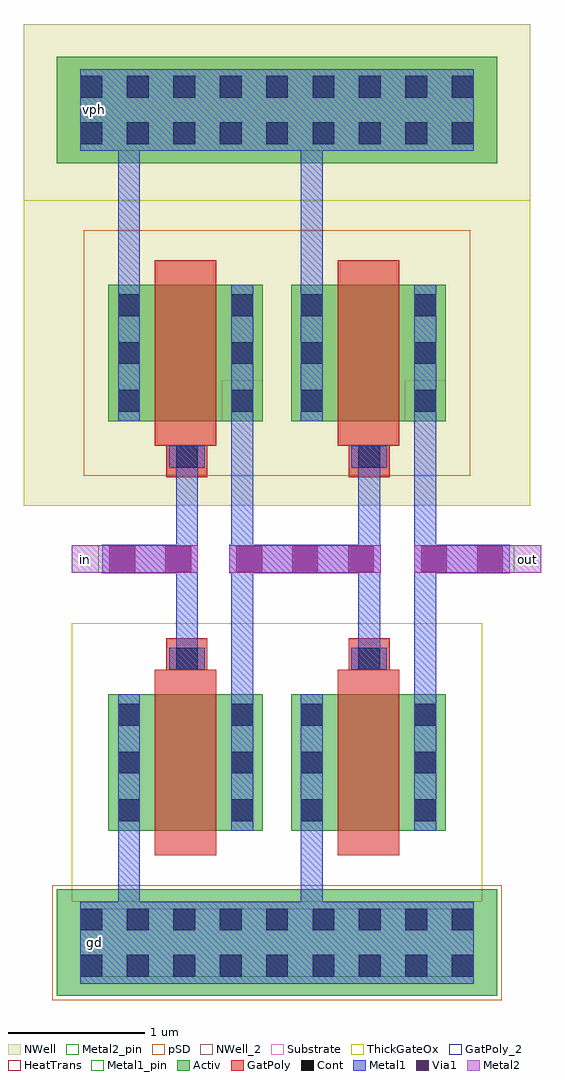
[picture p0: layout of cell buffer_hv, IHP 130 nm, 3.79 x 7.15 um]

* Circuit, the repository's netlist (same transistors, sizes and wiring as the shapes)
** sch_path: /foss/designs/CHIP-PLL/schematics/misc/buffer_hv.sch
.subckt buffer_hv vph in out gd
*.PININFO in:I out:O vph:I gd:I
MM1 buf_stage_1 in vph vph sg13_hv_pmos w=1u l=0.45u ng=1
MM2 buf_stage_1 in gd gd sg13_hv_nmos w=1u l=0.45u ng=1
MM3 out buf_stage_1 vph vph sg13_hv_pmos w=1u l=0.45u ng=1
MM4 out buf_stage_1 gd gd sg13_hv_nmos w=1u l=0.45u ng=1
.ends

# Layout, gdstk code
import gdstk
lib = gdstk.Library(unit=1e-6, precision=1e-09)
def R(c, l, rs):  # rectangles x0, y0, x1, y1
    for r in rs: c.add(gdstk.rectangle(r[:2], r[2:], *l))
def A(c, l, x, y, w, h, nx, ny, dx, dy):  # array of equal rectangles
    R(c, l, [(x+i*dx, y+j*dy, x+i*dx+w, y+j*dy+h) for i in range(nx) for j in range(ny)])
Activ = (1, 0)
GatPoly = (5, 0)
GatPoly_2 = (5, 2)
Cont = (6, 0)
Metal1 = (8, 0)
Metal1_pin = (8, 2)
Metal2 = (10, 0)
Metal2_pin = (10, 2)
pSD = (14, 0)
Via1 = (19, 0)
NWell = (31, 0)
NWell_2 = (31, 2)
Substrate = (40, 0)
ThickGateOx = (44, 0)
HeatTrans = (51, 0)

nmoshv = lib.new_cell('nmosHV')
R(nmoshv, Activ, [(0,0,0.3,0.3), (0,0,1.13,1), (0.83,0,1.13,0.3)])
R(nmoshv, GatPoly, [(0.34,-0.18,0.79,1.18)])
R(nmoshv, GatPoly_2, [(0.34,-0.18,0.79,1.18)])
A(nmoshv, Cont, 0.07, 0.07, 0.16, 0.16, 1, 3, 0, 0.35)
A(nmoshv, Cont, 0.9, 0.07, 0.16, 0.16, 1, 3, 0, 0.35)
R(nmoshv, Metal1, [(0.07,0,0.23,1), (0.9,0,1.06,1)])
R(nmoshv, Metal1_pin, [(0.07,0,0.23,1), (0.9,0,1.06,1)])
R(nmoshv, ThickGateOx, [(-0.27,-0.52,1.4,1.52)])
R(nmoshv, HeatTrans, [(0.34,-0.18,0.79,1.18)])
nmoshv.add(gdstk.Label('nmosHV', (0.565,0.5), layer=63, texttype=0))
nmoshv.add(gdstk.Label('nmosHV', (0.565,0.5), layer=51, texttype=0))

pmoshv = lib.new_cell('pmosHV')
R(pmoshv, Activ, [(0,0,0.3,0.3), (0,0,1.13,1), (0.83,0,1.13,0.3)])
R(pmoshv, GatPoly, [(0.34,-0.18,0.79,1.18)])
R(pmoshv, GatPoly_2, [(0.34,-0.18,0.79,1.18)])
A(pmoshv, Cont, 0.07, 0.07, 0.16, 0.16, 1, 3, 0, 0.35)
A(pmoshv, Cont, 0.9, 0.07, 0.16, 0.16, 1, 3, 0, 0.35)
R(pmoshv, Metal1, [(0.07,0,0.23,1), (0.9,0,1.06,1)])
R(pmoshv, Metal1_pin, [(0.07,0,0.23,1), (0.9,0,1.06,1)])
R(pmoshv, pSD, [(-0.18,-0.4,1.31,1.4)])
R(pmoshv, NWell, [(-0.62,-0.62,1.75,1.62)])
R(pmoshv, Substrate, [(0.83,0,1.13,0.3)])
R(pmoshv, ThickGateOx, [(-0.62,-0.62,1.75,1.62)])
R(pmoshv, HeatTrans, [(0.34,-0.18,0.79,1.18)])
pmoshv.add(gdstk.Label('pmosHV', (0.565,0.5), layer=63, texttype=0))
pmoshv.add(gdstk.Label('pmos', (0.565,0.5), layer=51, texttype=0))

ptap1 = lib.new_cell('ptap1')
R(ptap1, Activ, [(0,0,3.23,0.78)])
A(ptap1, Cont, 0.175, 0.14, 0.16, 0.16, 9, 2, 0.34, 0.34)
R(ptap1, Metal1, [(0.175,0.09,3.055,0.69), (0.175,0.14,3.055,0.64)])
R(ptap1, Metal1_pin, [(0.175,0.14,3.055,0.64)])
R(ptap1, pSD, [(-0.03,-0.03,3.26,0.81)])
R(ptap1, Substrate, [(0,0,3.23,0.78)])
ptap1.add(gdstk.Label('sub!', (1.615,0.01), layer=63, texttype=0))
ptap1.add(gdstk.Label('sub!', (1.615,0.01), layer=40, texttype=0))

ntap1 = lib.new_cell('ntap1')
R(ntap1, Activ, [(0,0,3.23,0.78)])
A(ntap1, Cont, 0.175, 0.14, 0.16, 0.16, 9, 2, 0.34, 0.34)
R(ntap1, Metal1, [(0.175,0.09,3.055,0.69)])
R(ntap1, Metal1_pin, [(0.175,0.09,3.055,0.69), (0.175,0.14,3.055,0.64)])
R(ntap1, NWell, [(-0.24,-0.24,3.47,1.02), (0,0,3.23,0.78)])
R(ntap1, NWell_2, [(0,0,3.23,0.78)])
ntap1.add(gdstk.Label('well', (1.615,0.01), layer=63, texttype=0))
ntap1.add(gdstk.Label('well', (1.615,0.01), layer=31, texttype=0))

via = lib.new_cell('Via')
R(via, GatPoly, [(-0.15,-0.15,0.15,0.15)])
R(via, Cont, [(-0.08,-0.08,0.08,0.08)])
R(via, Metal1, [(-0.13,-0.08,0.13,0.08)])

via_3 = lib.new_cell('Via$3')
R(via_3, Metal1, [(-0.555,-0.105,0.555,0.105)])
R(via_3, Metal2, [(-0.555,-0.1,0.555,0.1)])
A(via_3, Via1, -0.505, -0.095, 0.19, 0.19, 3, 1, 0.41, 0)

via_1 = lib.new_cell('Via$1')
R(via_1, Metal1, [(-0.35,-0.105,0.35,0.105)])
R(via_1, Metal2, [(-0.35,-0.1,0.35,0.1)])
R(via_1, Via1, [(-0.3,-0.095,-0.11,0.095), (0.11,-0.095,0.3,0.095)])

buffer_hv = lib.new_cell('buffer_hv')
R(buffer_hv, Metal1_pin, [(13.51,12.21,13.71,12.41), (13.51,18.31,13.71,18.51)])
R(buffer_hv, Metal2_pin, [(13.445,15.02,13.645,15.22), (16.685,15.02,16.885,15.22)])
R(buffer_hv, NWell, [(13.095,15.51,16.805,19.04)])
buffer_hv.add(gdstk.FlexPath([(14.29,14.39),(14.29,15.87)], 0.16, ends="flush", simple_path=True, layer=8, datatype=0))  # Metal1
buffer_hv.add(gdstk.FlexPath([(13.865,17.13),(13.865,18.16)], 0.16, ends="flush", simple_path=True, layer=8, datatype=0))  # Metal1
buffer_hv.add(gdstk.FlexPath([(13.865,13.13),(13.865,12.56)], 0.16, ends="flush", simple_path=True, layer=8, datatype=0))  # Metal1
buffer_hv.add(gdstk.FlexPath([(14.695,14.13),(14.695,16.13)], 0.16, ends="flush", simple_path=True, layer=8, datatype=0))  # Metal1
buffer_hv.add(gdstk.FlexPath([(15.625,14.39),(15.625,15.87)], 0.16, ends="flush", simple_path=True, layer=8, datatype=0))  # Metal1
buffer_hv.add(gdstk.FlexPath([(16.035,16.13),(16.035,14.13)], 0.16, ends="flush", simple_path=True, layer=8, datatype=0))  # Metal1
buffer_hv.add(gdstk.FlexPath([(15.205,17.13),(15.205,18.11)], 0.16, ends="flush", simple_path=True, layer=8, datatype=0))  # Metal1
buffer_hv.add(gdstk.FlexPath([(15.205,13.13),(15.205,12.56)], 0.16, ends="flush", simple_path=True, layer=8, datatype=0))  # Metal1
buffer_hv.add(gdstk.FlexPath([(14.695,15.125),(14.695,15.125)], 0.16, ends="flush", simple_path=True, layer=8, datatype=0))  # Metal1
buffer_hv.add(gdstk.FlexPath([(14.37,14.885),(14.37,14.885)], 0.16, ends="flush", simple_path=True, layer=5, datatype=0))  # GatPoly
buffer_hv.add(gdstk.FlexPath([(15.705,14.885),(15.705,14.885)], 0.16, ends="flush", simple_path=True, layer=5, datatype=0))  # GatPoly
buffer_hv.add(gdstk.FlexPath([(15.955,15.12),(16.885,15.12)], 0.2, ends="flush", simple_path=True, layer=10, datatype=0))  # Metal2
buffer_hv.add(gdstk.FlexPath([(14.37,15.12),(13.445,15.12)], 0.2, ends="flush", simple_path=True, layer=10, datatype=0))  # Metal2
buffer_hv.add(gdstk.Reference(nmoshv, (13.715,13.13)))
buffer_hv.add(gdstk.Reference(pmoshv, (13.715,16.13)))
buffer_hv.add(gdstk.Reference(ptap1, (13.335,11.92)))
buffer_hv.add(gdstk.Reference(ntap1, (13.335,18.02)))
buffer_hv.add(gdstk.Reference(via, (14.29,14.39)))
buffer_hv.add(gdstk.Reference(via, (14.29,15.87)))
buffer_hv.add(gdstk.Reference(nmoshv, (15.055,13.13)))
buffer_hv.add(gdstk.Reference(pmoshv, (15.055,16.13)))
buffer_hv.add(gdstk.Reference(via, (15.625,14.39)))
buffer_hv.add(gdstk.Reference(via, (15.625,15.87)))
buffer_hv.add(gdstk.Reference(via_3, (15.155,15.12)))
buffer_hv.add(gdstk.Reference(via_1, (16.305,15.12)))
buffer_hv.add(gdstk.Reference(via_1, (14.02,15.12)))
buffer_hv.add(gdstk.Label('vph', (13.61,18.41), layer=8, texttype=25))
buffer_hv.add(gdstk.Label('gd', (13.61,12.31), layer=8, texttype=25))
buffer_hv.add(gdstk.Label('in', (13.545,15.12), layer=10, texttype=25))
buffer_hv.add(gdstk.Label('out', (16.785,15.12), layer=10, texttype=25))

lib.write_gds('buffer_hv.gds')
